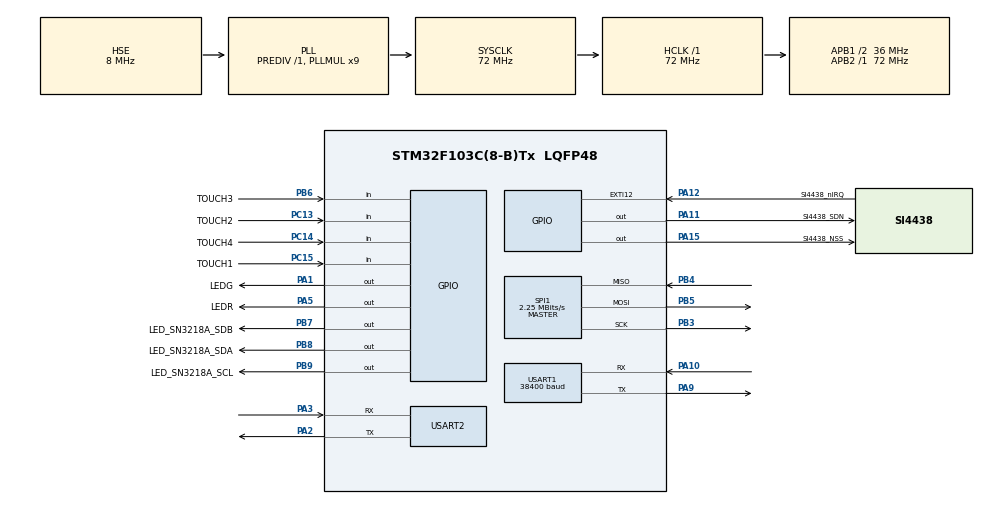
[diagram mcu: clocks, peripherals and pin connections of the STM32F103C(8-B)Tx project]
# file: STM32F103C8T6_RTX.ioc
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Mcu.Family=STM32F1
Mcu.Name=STM32F103C(8-B)Tx
Mcu.Package=LQFP48
NVIC.EXTI15_10_IRQn=true\:0\:0\:false\:false\:true\:true
NVIC.PriorityGroup=NVIC_PRIORITYGROUP_4
NVIC.SPI1_IRQn=true\:0\:0\:true\:false\:true\:true
NVIC.TIM1_UP_IRQn=true\:1\:0\:true\:false\:true\:true
NVIC.USART1_IRQn=true\:0\:0\:false\:false\:true\:true
NVIC.USART2_IRQn=true\:0\:0\:false\:false\:true\:true
PA1.GPIO_Label=LEDG
PA1.Signal=GPIO_Output
PA10.Mode=Asynchronous
PA10.Signal=USART1_RX
PA11.GPIO_Label=SI4438_SDN
PA11.Signal=GPIO_Output
PA12.GPIO_Label=SI4438_nIRQ
PA12.GPIO_ModeDefaultEXTI=GPIO_MODE_IT_FALLING
PA12.Signal=GPXTI12
PA13.Mode=Serial_Wire
PA13.Signal=SYS_JTMS-SWDIO
PA14.Mode=Serial_Wire
PA14.Signal=SYS_JTCK-SWCLK
PA15.GPIO_Label=SI4438_NSS
PA15.Signal=GPIO_Output
PA2.Mode=Asynchronous
PA2.Signal=USART2_TX
PA3.Mode=Asynchronous
PA3.Signal=USART2_RX
PA5.GPIO_Label=LEDR
PA5.Signal=GPIO_Output
PA9.Mode=Asynchronous
PA9.Signal=USART1_TX
PB3.Mode=Full_Duplex_Master
PB3.Signal=SPI1_SCK
PB4.Mode=Full_Duplex_Master
PB4.Signal=SPI1_MISO
PB5.Mode=Full_Duplex_Master
PB5.Signal=SPI1_MOSI
PB6.GPIO_Label=TOUCH3
PB6.Signal=GPIO_Input
PB7.GPIO_Label=LED_SN3218A_SDB
PB7.GPIO_Speed=GPIO_SPEED_FREQ_HIGH
PB7.Signal=GPIO_Output
PB8.GPIO_Label=LED_SN3218A_SDA
PB8.GPIO_Speed=GPIO_SPEED_FREQ_HIGH
PB8.Signal=GPIO_Output
PB9.GPIO_Label=LED_SN3218A_SCL
PB9.GPIO_Speed=GPIO_SPEED_FREQ_HIGH
PB9.Signal=GPIO_Output
PC13-TAMPER-RTC.GPIO_Label=TOUCH2
PC13-TAMPER-RTC.Signal=GPIO_Input
PC14-OSC32_IN.GPIO_Label=TOUCH4
PC14-OSC32_IN.Signal=GPIO_Input
PC15-OSC32_OUT.GPIO_Label=TOUCH1
PC15-OSC32_OUT.Signal=GPIO_Input
PD0-OSC_IN.Mode=HSE-External-Oscillator
PD0-OSC_IN.Signal=RCC_OSC_IN
PD1-OSC_OUT.Mode=HSE-External-Oscillator
PD1-OSC_OUT.Signal=RCC_OSC_OUT
ProjectManager.HeapSize=0x200
ProjectManager.StackSize=0x400
ProjectManager.TargetToolchain=MDK-ARM V5
RCC.AHBFreq_Value=72000000
RCC.APB1CLKDivider=RCC_HCLK_DIV2
RCC.APB1Freq_Value=36000000
RCC.APB1TimFreq_Value=72000000
RCC.APB2Freq_Value=72000000
RCC.APB2TimFreq_Value=72000000
RCC.HCLKFreq_Value=72000000
RCC.PLLMUL=RCC_PLL_MUL9
RCC.PLLSourceVirtual=RCC_PLLSOURCE_HSE
RCC.SYSCLKFreq_VALUE=72000000
RCC.SYSCLKSource=RCC_SYSCLKSOURCE_PLLCLK
RCC.USBFreq_Value=72000000
SPI1.BaudRatePrescaler=SPI_BAUDRATEPRESCALER_32
SPI1.CalculateBaudRate=2.25 MBits/s
SPI1.Direction=SPI_DIRECTION_2LINES
SPI1.Mode=SPI_MODE_MASTER
SPI1.VirtualType=VM_MASTER
TIM1.Period=65000-1
TIM1.Prescaler=72-1
USART1.BaudRate=38400
USART1.VirtualMode=VM_ASYNC
USART2.VirtualMode=VM_ASYNC
VP_TIM1_VS_ClockSourceINT.Mode=Internal
board=custom

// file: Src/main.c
/**
  ******************************************************************************
  * @file           : main.c
  * @brief          : Main program body
  ******************************************************************************
  ** This notice applies to any and all portions of this file
  * that are not between comment pairs USER CODE BEGIN and
  * USER CODE END. Other portions of this file, whether
  * inserted by the user or by software development tools
  * are owned by their respective copyright owners.
  *
  * COPYRIGHT(c) 2018 STMicroelectronics
  *
  * Redistribution and use in source and binary forms, with or without modification,
  * are permitted provided that the following conditions are met:
  *   1. Redistributions of source code must retain the above copyright notice,
  *      this list of conditions and the following disclaimer.
  *   2. Redistributions in binary form must reproduce the above copyright notice,
  *      this list of conditions and the following disclaimer in the documentation
  *      and/or other materials provided with the distribution.
  *   3. Neither the name of STMicroelectronics nor the names of its contributors
  *      may be used to endorse or promote products derived from this software
  *      without specific prior written permission.
  *
  * THIS SOFTWARE IS PROVIDED BY THE COPYRIGHT HOLDERS AND CONTRIBUTORS "AS IS"
  * AND ANY EXPRESS OR IMPLIED WARRANTIES, INCLUDING, BUT NOT LIMITED TO, THE
  * IMPLIED WARRANTIES OF MERCHANTABILITY AND FITNESS FOR A PARTICULAR PURPOSE ARE
  * DISCLAIMED. IN NO EVENT SHALL THE COPYRIGHT HOLDER OR CONTRIBUTORS BE LIABLE
  * FOR ANY DIRECT, INDIRECT, INCIDENTAL, SPECIAL, EXEMPLARY, OR CONSEQUENTIAL
  * DAMAGES (INCLUDING, BUT NOT LIMITED TO, PROCUREMENT OF SUBSTITUTE GOODS OR
  * SERVICES; LOSS OF USE, DATA, OR PROFITS; OR BUSINESS INTERRUPTION) HOWEVER
  * CAUSED AND ON ANY THEORY OF LIABILITY, WHETHER IN CONTRACT, STRICT LIABILITY,
  * OR TORT (INCLUDING NEGLIGENCE OR OTHERWISE) ARISING IN ANY WAY OUT OF THE USE
  * OF THIS SOFTWARE, EVEN IF ADVISED OF THE POSSIBILITY OF SUCH DAMAGE.
  *
  ******************************************************************************
  */
#include "main.h"
#include "stm32f1xx_hal.h"

/* USER CODE BEGIN Includes */
#include "taskApp.h"
#include "delay.h"
#include "user_call_back.h"
#include "wireless_app.h"
#include "wireless_drv.h"
#include "uart.h"
#include "stmflash.h"
#include "led.h"
#include "frame_process.h"
#include "stm32f0_eeprom.h"
#include "aes.h"
/* USER CODE END Includes */

SPI_HandleTypeDef hspi1;

TIM_HandleTypeDef htim1;

UART_HandleTypeDef huart1;
UART_HandleTypeDef huart2;

/* USER CODE BEGIN PV */
/* Private variables ---------------------------------------------------------*/

/* USER CODE END PV */

void SystemClock_Config(void);
static void MX_GPIO_Init(void);
static void MX_USART1_UART_Init(void);
static void MX_USART2_UART_Init(void);
static void MX_SPI1_Init(void);
static void MX_TIM1_Init(void);

/* USER CODE BEGIN PFP */
/* Private function prototypes -----------------------------------------------*/

/* USER CODE END PFP */

/* USER CODE BEGIN 0 */
uint8_t uart1_rec;
uint8_t uart2_rec;

//串口接收一帧数据后处理
void UartRcvTask(void)
{
    uint16_t len, t;
    if (USART2_RX_STA & 0x8000)
    {
        len = USART2_RX_STA & 0x3fff; //得到此次接收到的数据长度
        //printf("\r\n您发送的消息为:\r\n\r\n");
        for (t = 0; t < len; t++)
        {
            UartSendData(USART2, USART2_RX_BUF[t]); //向串口1发送数据
        }

        //printf("\r\n\r\n");//插入换行
        USART2_RX_STA = 0;
    }
    if (USART_RX_STA & 0x8000)
    {
        len = USART_RX_STA & 0x3fff; //得到此次接收到的数据长度
        //printf("\r\n您发送的消息为:\r\n\r\n");
        for (t = 0; t < len; t++)
        {
            UartSendData(USART1, USART_RX_BUF[t]); //向串口1发送数据
        }
        Si4438_Transmit_Start(&Wireless_Buf, 10, USART_RX_BUF, len);
        //printf("\r\n\r\n");//插入换行
        USART_RX_STA = 0;
    }
}

/*
无线数据处理任务
*/
void WirelessTask(void)
{
    uint8_t recFlag = 0;
    if (WIRELESS_STATUS == Wireless_RX_Finish)
    {
        Uart1SendBytes(Wireless_Buf.Wireless_RxData, Wireless_Buf.Wireless_PacketLength);
        recFlag = 1;
        //Si4438_Receive_Start(Wireless_Channel[0]);
    }
    if (WIRELESS_STATUS == Wireless_TX_Finish)
    {
        DEBUG_Printf("Wireless_TX_Finish\r\n");
        Si4438_Receive_Start(Wireless_Channel[0]); //开始接收无线数据
    }
    else if (WIRELESS_STATUS == Wireless_RX_Failure)
    {
        WirelessRx_Timeout_Cnt = 0;
        DEBUG_Printf("Wireless_RX_Failure\r\n");
        delay_ms(30);
        Set_Property(Interrupt_Close);
        delay_ms(200);
        Si4438_Receive_Start(Wireless_Channel[0]); //开始接收无线数据
    }
//    else if ((WIRELESS_STATUS == Wireless_RX_Sync) && (WirelessRx_Timeout_Cnt > 500)) //500ms超时
//    {

//        DEBUG_Printf("Wireless_RX_Sync\r\n");
//        delay_ms(30);
//        Set_Property(Interrupt_Close);
//        delay_ms(200);
//        Si4438_Receive_Start(Wireless_Channel[0]); //开始接收无线数据
//        WirelessRx_Timeout_Cnt = 0;
//    }

    if (recFlag == 1)
    {
        Si4438_Transmit_Start(&Wireless_Buf, 22, "abcdefg", 7);
    }
}

//根据家庭组切换到新的固定通讯频道上
#ifdef Use_Rx_Hop
void Get_WireLessChannel(uint8_t *wire_chnel)
{
   uint32_t temp_val = LANGroup_Addr[0] + LANGroup_Addr[1] + LANGroup_Addr[2];

   //uint32_t temp_val = 0x00 + 0x29 + 0x02;
   //uint32_t temp_val = 0x00 + 0x2A + 0x5B;
    if (temp_val == 0)
    {
        wire_chnel[0] = Default_Channel;
        wire_chnel[1] = Default_Channel;
    }
    else
    {
        wire_chnel[0] = (temp_val & 0x1f) << 1; //共32个信道组，每个信道组有两个信道
        wire_chnel[1] = wire_chnel[0] + 1;
		if(wire_chnel[0] == Default_Channel)
		{
			wire_chnel[0] = wire_chnel[0] + 2;
			wire_chnel[1] = wire_chnel[0] + 1;
		}
    }

    RF_RX_HOP_CONTROL_12[7] = Channel_Frequency_Index[wire_chnel[0]]; //放入群组的主频道
    RF_RX_HOP_CONTROL_12[8] = Channel_Frequency_Index[wire_chnel[1]]; //放入群组的备用频道
}
#else
void Get_WireLessChannel(uint8_t *wire_chnel)
{
	wire_chnel[0] = Default_Channel;
	wire_chnel[1] = Default_Channel;
}
#endif
//LED旋转灯测试
void PowerOn_Led(void)
{
    //Fashion_ParaBuf.Led4_CotrolPara = 0x43;
    //LED_SetALed(4, Purple, 63);
    LED_SetDuty(Purple, 63);
    LED_SetALed(4, Purple, 63);
    SysDelay_Xms(2000);

    LED_Clear(0);
}

void UpCom_Process(UpCom_Rx_TypDef *prx_ubuf, DevicePara_TypDef *p_device)
{

    if (prx_ubuf->Rx_Status == UartRx_Finished)
    {
        prx_ubuf->Rx_Status = UartRx_FrameHead;
        if (0 == FrameData_Detect(prx_ubuf->Frame_Data, prx_ubuf->FrameTotalLen))
        {
            p_device->Pending_Flag &= 0xf0; //
            LEDR_INVERSE();

            if (prx_ubuf->Frame_Data[0] == AESFreamHeader)
                p_device->Pending_Flag |= 0x01;
            else
            {
                uint8_t frame_type = prx_ubuf->Frame_Data[Region_CmdNumber] & 0x98;

                if (frame_type == RemoteUp_CmdFrame)
                {
                    p_device->Pending_Flag |= 0x02;
#ifdef Use_Rout
                    Dis_TryFlag = 1;
                    prx_ubuf->Frame_Data[Region_SeqNumber] &= 0x7f;
#endif
                }

                else if (frame_type == Local_EventFrame || frame_type == RemoteUp_EventFrame)
                    p_device->Pending_Flag |= 0x03;
                else if (frame_type == Local_CmdFrame)
                    p_device->Pending_Flag |= 0x04;
                else
                {
                    // UpCom_RXINT_EN();
                }
            }
        }
        else
        {
            // UpCom_RXINT_EN();
        }
    }
}

void WireLess_Process(WLS *p_wl, DevicePara_TypDef *p_device)
{
    static uint8_t Wireless_ErrCnt = 0;

    // Get_WireLessChannel(Wireless_Channel);

    if (WIRELESS_ERROR_CODE == Wireless_CmdResponseError)
    {
        WIRELESS_ERROR_CODE = Wireless_NoError;
        /*Si4438_Receive_Start(Wireless_Channel[0]);   //Start Receive*/
        if (++Wireless_ErrCnt > 10)
            WIRELESS_ERROR_CODE = Wireless_InitError;
    }

    if (WIRELESS_ERROR_CODE == Wireless_ExecuteError) //Channel Busy
    {
        WIRELESS_STATUS = Wireless_Free;

        Si4438_Receive_Start(Wireless_Channel[0]); //Start Receive
    }

    if (WIRELESS_STATUS == Wireless_TX_Finish)
    {
        WIRELESS_STATUS = Wireless_Free;
        Wireless_ErrCnt = 0;
        //LEDR_INVERSE();
        Si4438_Receive_Start(Wireless_Channel[0]); //Start Receive
    }

    else if (WIRELESS_STATUS == Wireless_RX_Failure)
    {
        WIRELESS_STATUS = Wireless_Free;
        Wireless_ErrCnt = 0;
        Res_FifoInfo(RESET_RECEIVE);
        //Si4438_Receive_Start(Wireless_Channel[0]);         //Start Receive
    }

    else if (WIRELESS_STATUS == Wireless_RX_Finish) //Receive Finish
    {
        WIRELESS_STATUS = Wireless_Free;
        Wireless_ErrCnt = 0;

        if (0 == FrameData_Detect(p_wl->Wireless_RxData, p_wl->Wireless_PacketLength))
        {
#ifdef Use_74dcode
            if (((p_wl->Wireless_RxData[Region_CmdNumber] & 0X07) != 0X07) && ((p_wl->Wireless_RxData[Region_CmdNumber] & 0X07) != 0X02)) //带编码能力的电器回复无cmd标识
            {
                uint8_t Datacnt = Region_DataAFNNumber, Realcnt = 0;
                volatile uint16_t dest;
                uint8_t Datalength = (p_wl->Wireless_PacketLength - 9) / 2; //从数据区到校验区开始解码

                while (Datalength--)
                {
                    dest = (p_wl->Wireless_RxData[Datacnt]);
                    dest = dest << 8;
                    dest |= p_wl->Wireless_RxData[Datacnt + 1];                //接收到的是单位1Byte的74码数据，处理成2Byte解码使用
                    p_wl->Wireless_RealData[Realcnt++] = decode16_74bit(dest); //解码成真实数据
                    Datacnt += 2;
                }
                memset(&p_wl->Wireless_RxData[Region_DataAFNNumber], (uint8_t)0, p_wl->Wireless_PacketLength); //把接收到的编码帧清除，否则会有无用数据在帧的后缀出现
                memmove(&p_wl->Wireless_RxData[Region_DataAFNNumber], p_wl->Wireless_RealData, Realcnt);       //把真实长度的数据放到接收数据buf中
                memset(p_wl->Wireless_RealData, (uint8_t)0, Realcnt);
                p_wl->Wireless_PacketLength = Realcnt + Region_DataAFNNumber; //数据校验区加协议区总长度
            }
#endif

            uint8_t frame_type = p_wl->Wireless_RxData[Region_CmdNumber] & 0x98;
#ifdef Use_Rout
            uint8_t rout_flag = p_wl->Wireless_RxData[Region_SeqNumber] & 0x80;
            uint8_t Remain_series = p_wl->Wireless_RxData[Region_DataAFNNumber + p_wl->Wireless_RxData[Region_DataLenNumber] + 1];
#endif

            p_device->Pending_Flag &= 0x0f;
            LEDG_INVERSE();
#ifdef Use_Rout
            if ((frame_type == RemoteDown_CmdFrame) && (!rout_flag || (rout_flag && !Remain_series)))
                p_device->Pending_Flag |= 0x10;
            else if ((frame_type == RemoteDown_EventFrame) && (!rout_flag || (rout_flag && !Remain_series)))
                p_device->Pending_Flag |= 0x20;
#else
            if (frame_type == RemoteDown_CmdFrame)
                p_device->Pending_Flag |= 0x10;
            else if (frame_type == RemoteDown_EventFrame)
                p_device->Pending_Flag |= 0x20;
#endif
            else
                Si4438_Receive_Start(Wireless_Channel[0]);
        }
        else if (p_wl->Wireless_RxData[Region_HeaderNumber] == HKFreamHeader) //帧校验错误时但为正确格式，尝试解码纠错
        {
#ifdef Use_74dcode
            //无线帧校验错误尝试解码恢复数据
            if (((p_wl->Wireless_RxData[Region_CmdNumber] & 0X07) != 0X07) && ((p_wl->Wireless_RxData[Region_CmdNumber] & 0X07) != 0X02)) //带编码能力的电器回复无cmd标识，可以尝试解码恢复
            {
                uint8_t Datacnt = Region_DataAFNNumber, Realcnt = 0;
                volatile uint16_t dest;
                uint8_t Datalength = (p_wl->Wireless_PacketLength - 9) / 2; //从数据区到校验区开始解码

                while (Datalength--)
                {
                    dest = (p_wl->Wireless_RxData[Datacnt]);
                    dest = dest << 8;
                    dest |= p_wl->Wireless_RxData[Datacnt + 1];                //接收到的是单位1Byte的74码数据，处理成2Byte解码使用
                    p_wl->Wireless_RealData[Realcnt++] = decode16_74bit(dest); //解码成真实数据
                    Datacnt += 2;
                }
                memset(&p_wl->Wireless_RxData[Region_DataAFNNumber], (uint8_t)0, p_wl->Wireless_PacketLength); //把接收到的编码帧清除，否则会有无用数据在帧的后缀出现
                memmove(&p_wl->Wireless_RxData[Region_DataAFNNumber], p_wl->Wireless_RealData, Realcnt);       //把真实长度的数据放到接收数据buf中
                memset(p_wl->Wireless_RealData, (uint8_t)0, Realcnt);
                p_wl->Wireless_PacketLength = Realcnt + Region_DataAFNNumber; //数据校验区加协议区总长度
            }
            else //不带编码能力的电器回复校验错误直接返回
            {
                Si4438_Receive_Start(Wireless_Channel[0]);
                return;
            }
#endif
#ifdef Use_74dcode
            //校验解码后的帧是否正确
            if (0 == FrameData_Detect(p_wl->Wireless_RxData, p_wl->Wireless_PacketLength))
            {
                uint8_t frame_type = p_wl->Wireless_RxData[Region_CmdNumber] & 0x98;
#ifdef Use_Rout
                uint8_t rout_flag = p_wl->Wireless_RxData[Region_SeqNumber] & 0x80;
                uint8_t Remain_series = p_wl->Wireless_RxData[Region_DataAFNNumber + p_wl->Wireless_RxData[Region_DataLenNumber] + 1];
#endif

                p_device->Pending_Flag &= 0x0f;
                LEDG_INVERSE();
#ifdef Use_Rout
                if ((frame_type == RemoteDown_CmdFrame) && (!rout_flag || (rout_flag && !Remain_series)))
                    p_device->Pending_Flag |= 0x10;
                else if ((frame_type == RemoteDown_EventFrame) && (!rout_flag || (rout_flag && !Remain_series)))
                    p_device->Pending_Flag |= 0x20;
#else
                if (frame_type == RemoteDown_CmdFrame)
                    p_device->Pending_Flag |= 0x10;
                else if (frame_type == RemoteDown_EventFrame)
                    p_device->Pending_Flag |= 0x20;
#endif
                else
                    Si4438_Receive_Start(Wireless_Channel[0]);
            }
            else
                Si4438_Receive_Start(Wireless_Channel[0]);
#else
            Si4438_Receive_Start(Wireless_Channel[0]);
#endif
        }
        else
            Si4438_Receive_Start(Wireless_Channel[0]);
    }
}

void System_8msTick_Process(void)
{
    if ((WIRELESS_STATUS == Wireless_RX_Receiving) && (!!NIRQ_RDPIN() == 0))
    {
        Si4438_Receive_Start(Wireless_Channel[0]); //Restart Receive
    }
    if ((WIRELESS_ERROR_CODE == Wireless_Busy)) //Channel Busy
    {
        if (Wireless_Buf.Channel_Busy_cnt) // Send Ready
        {
            if (++Wireless_Buf.Channel_Busy_cnt > BUSY_TIMEOUT)
            {
                Wireless_Buf.Channel_Busy_cnt = 0;

                //Set_Property(Interrupt_Close);
                WIRELESS_ERROR_CODE = Wireless_NoError;
                Si4438_Receive_Start(Wireless_Channel[0]);
            }
        }
        else
            WIRELESS_ERROR_CODE = Wireless_NoError;
    }
    if (WirelessRx_Timeout_Cnt)
    {
        if (++WirelessRx_Timeout_Cnt > WirelessRx_Timeout_Threshold)
        {
            WirelessRx_Timeout_Cnt = 0;

            Si4438_Receive_Start(Wireless_Channel[0]);
        }
    }
    if (Wireless_Buf.Sent_TimeOut_Cnt > 0)
    {
        if (++Wireless_Buf.Sent_TimeOut_Cnt > WLSent_TimeOut_Val)
        {
            Wireless_Buf.Sent_TimeOut_Cnt = 0;
            WIRELESS_STATUS = Wireless_TX_Finish;
        }
    }
    if (UpCom_TxBuf.Tx_Status == UartTx_End)
    {
        if (++UpCom_TxBuf.TxEnd_Cnt > Tx_GapTime_Size)
        {
            UpCom_TxBuf.TxEnd_Cnt = 0;
            UpCom_TxBuf.Tx_Status = UartTx_Finished;
        }
    }
    if (UpCom_RxBuf.Over_time_count)
    {
        if (++UpCom_RxBuf.Over_time_count > Up_TimeOut_Val)
        {
            UpCom_RxBuf.Over_time_count = 0;
            UpCom_RxBuf.Rx_Status = UartRx_FrameHead;
        }
    }
#ifdef Use_Rout
    if (Frame_Wait_Cnt)
    {
        Frame_Wait_Cnt++;
    }
#endif
}

void Led_Process(DevicePara_TypDef *p_device, Led_Color_TypeDef colour)
{

    if ((p_device->Touch_State & 0x10) == 0x10)
    {
        p_device->Touch_State &= ~0x10;
        p_device->Led_Cotrol_DisFlag |= 0x01;
        LED_Clear(1);
        LED_SetALed(0, colour, 20);
        LED_SetALed(1, colour, 20);
    }
    else if ((p_device->Touch_State & 0x01) == 0x01)
    {
        p_device->Touch_State &= ~0x01;
        p_device->Led_Cotrol_DisFlag &= ~0x01;
        LED_SetALed(0, colour, 0);
        LED_SetALed(1, colour, 0);
    }
#if (0)
    if ((p_device->Touch_State & 0x20) == 0x20)
    {
        p_device->Touch_State &= ~0x20;
        p_device->Led_Cotrol_DisFlag |= 0x02;
        LED_Clear(1);
        LED_SetALed(2, colour, 20);
        LED_SetALed(3, colour, 20);
    }
    else if ((p_device->Touch_State & 0x02) == 0x02)
    {
        p_device->Touch_State &= ~0x02;
        p_device->Led_Cotrol_DisFlag &= ~0x02;
        LED_SetALed(2, colour, 0);
        LED_SetALed(3, colour, 0);
    }
#endif
    if ((p_device->Touch_State & 0x40) == 0x40)
    {
        p_device->Touch_State &= ~0x40;
        p_device->Led_Cotrol_DisFlag |= 0x04;
        LED_Clear(1);
        LED_SetALed(5, colour, 20);
        LED_SetALed(6, colour, 20);
    }
    else if ((p_device->Touch_State & 0x04) == 0x04)
    {
        p_device->Touch_State &= ~0x04;
        p_device->Led_Cotrol_DisFlag &= ~0x04;
        LED_SetALed(5, colour, 0);
        LED_SetALed(6, colour, 0);
    }
#if (0)
    if ((p_device->Touch_State & 0x80) == 0x80)
    {
        p_device->Touch_State &= ~0x80;
        p_device->Led_Cotrol_DisFlag |= 0x08;
        LED_Clear(1);
        LED_SetALed(7, colour, 20);
        LED_SetALed(8, colour, 20);
    }
    else if ((p_device->Touch_State & 0x08) == 0x08)
    {
        p_device->Touch_State &= ~0x08;
        p_device->Led_Cotrol_DisFlag &= ~0x08;
        LED_SetALed(7, colour, 0);
        LED_SetALed(8, colour, 0);
    }
#endif
    if (!p_device->Led_Cotrol_DisFlag)
    {
        uint8_t led_setmode, color_val;
        Led_Color_TypeDef led_color;

        led_setmode = (p_device->Led_CotrolPara & 0xf0) >> 4;
        color_val = p_device->Led_CotrolPara & 0x03;
        if (color_val == 0x00)
            led_color = Colourless;
        else if (color_val == 0x01)
            led_color = Blue;
        else if (color_val == 0x02)
            led_color = Orange;
        else if (color_val == 0x03)
            led_color = Purple;
        switch (led_setmode)
        {
        case Led_SetMode1:
            Led_Mode1(led_color);
            break;

        case Led_SetMode2:
            Led_Mode2(led_color);
            break;

        case Led_SetMode3:
            Led_Mode3(led_color);
            break;

        case Led_SetMode5:
            Led_Mode5(p_device, Purple);
            break;

        default:
            break;
        }
    }
    Led_Mode4(p_device);
}
void MacFrame_Process(uint8_t *p_source, uint8_t *p_buf)
{
    uint16_t crc16_val;

    if (p_source[1] == MACWrite_Cmd_Request)
    {
        if (memcmp(Local_MAC_Addr, p_source, MAC_Data_Len + 5) != 0) //只能烧一次
        {
            Eeprom_ErasePage(MAC_EAddr);
            Eeprom_Write(MAC_EAddr, (uint16_t *)p_source, MAC_Data_Len + 5);
            Eeprom_Read(MAC_EAddr, (uint16_t *)Local_MAC_Addr, MAC_Data_Len + 5);

            if (memcmp(Local_MAC_Addr, p_source, MAC_Data_Len + 5) == 0)
            {
                p_buf[1] = MACWrite_Yes_Response;
                p_buf[3] = 0xff;
            }
            else
            {
                p_buf[1] = MACWrite_NO_Response;
                p_buf[3] = 0x00;
            }
        }
        else
        {
            p_buf[1] = MACWrite_Yes_Response;
            p_buf[3] = 0xff;
        }
        p_buf[0] = AESFreamHeader;
        p_buf[2] = 1;
        crc16_val = CRC16_2(p_buf, 4);
        p_buf[4] = crc16_val >> 8;
        p_buf[5] = crc16_val & 0xff;

        UpUart_DataTx(p_buf, 6, &UpCom_TxBuf);
    }
}

uint8_t Remain_series;
void RxData_Process(HKFrame_TypDef *p_framebuf, DevicePara_TypDef *p_device)
{

    if (p_device->Pending_Flag & 0x0f)
    {
        uint8_t pending_val = p_device->Pending_Flag & 0x0f;

        if (pending_val == 0x01)
        {
            if (UpCom_TxBuf.Tx_Status != UartTx_Finished)
                return;
#ifdef USE_USAT_RSAKey
            AesFrame_Process(UpCom_RxBuf.Frame_Data);
#endif
            MacFrame_Process(UpCom_RxBuf.Frame_Data, p_framebuf->FrameProcess_Buf);
        }
        else
        {
            if (pending_val == 0x02)
            {
                if ((WIRELESS_STATUS == Wireless_TX_Sending))
                //UpUart_DataTx(p, 5, &UpCom_TxBuf);
#ifdef Use_Rout
                    if ((UpCom_TxBuf.Tx_Status != UartTx_Finished) || (WIRELESS_STATUS == Wireless_TX_Sending))
                        return;
#else
                    if ((UpCom_TxBuf.Tx_Status != UartTx_Finished) || (WIRELESS_STATUS == Wireless_TX_Sending))
                        return;
#endif
                //Frame_Process(Up_RxBuf.Frame_Data, Up_RxBuf.FrameTotalLen, p_framebuf, p_device);
            }
            else if (pending_val == 0x03)
            {
                //Frame_Process(Up_RxBuf.Frame_Data, Up_RxBuf.FrameTotalLen, p_framebuf, p_device);
            }
            else if (pending_val == 0x04)
            {
                if (UpCom_TxBuf.Tx_Status != UartTx_Finished)
                    return;
            }

            Frame_Process(UpCom_RxBuf.Frame_Data, UpCom_RxBuf.FrameTotalLen, p_framebuf, p_device);
        }
        p_device->Pending_Flag &= ~0x0f;
        // UpCom_RXINT_EN();
    }

    if (p_device->Pending_Flag & 0xf0)
    {
        uint8_t pending_val = p_device->Pending_Flag & 0xf0;
#ifdef Use_Rout
        uint8_t rout_flag = Wireless_Buf.Wireless_RxData[Region_SeqNumber] & 0x80;
        //uint8_t Remain_series = Wireless_Buf.Wireless_RxData[Region_DataAFNNumber + Wireless_Buf.Wireless_RxData[Region_DataLenNumber] + 1];
        Remain_series = Wireless_Buf.Wireless_RxData[Wireless_Buf.Wireless_PacketLength - 3 - 5];
#endif

#ifdef Use_Rout
        if (rout_flag && Remain_series)
        {
            p_device->Pending_Flag &= ~0xf0;
            Si4438_Receive_Start(Wireless_Channel[0]);
            return;
        }
#endif
        if (pending_val == 0x10)
        {
            if (UpCom_TxBuf.Tx_Status != UartTx_Finished)
                return;
        }
        else if (pending_val == 0x20)
        {
            if ((UpCom_TxBuf.Tx_Status != UartTx_Finished) || (WIRELESS_STATUS == Wireless_TX_Sending))
                return;
        }

        Frame_Process(Wireless_Buf.Wireless_RxData, Wireless_Buf.Wireless_PacketLength, p_framebuf, p_device);
        p_device->Pending_Flag &= ~0xf0;

        if (WIRELESS_STATUS != Wireless_TX_Sending)
            Si4438_Receive_Start(Wireless_Channel[0]);
    }
}

void Touch_Process(DevicePara_TypDef *p_device)
{
    if (!p_device->Touch_Val)
    {
        Touch1_Detect(p_device);
        Touch2_Detect(p_device);
        Touch3_Detect(p_device);
        Touch4_Detect(p_device);
        if (p_device->Touch_Val)
            p_device->UpReport_Flag |= (1 << Key_Event);
    }
}

void MacAddr_Read(void)
{
	uint32_t delay_cnt = 0;
    do
    {
        SysDelay_Xms(20);

        UpCom_Process(&UpCom_RxBuf, &Device_ParaBuf);
        RxData_Process(&HKFrame_Buf, &Device_ParaBuf);
        Eeprom_Read(MAC_EAddr, (uint16_t *)Local_MAC_Addr, MAC_Data_Len + 5);
		delay_cnt ++;
		if(delay_cnt > 50)
		{
			delay_cnt = 0;
			//DEBUG_Printf("Please input Mac Frame\r\n");
			UartSendData(USART1,0x0C);
		}
    } while (0 != FrameData_Detect(Local_MAC_Addr, MAC_Data_Len + 5));
}

void Aes_Key_Read(void)
{
#ifdef USE_USAT_RSAKey
    do
    {
        SysDelay_Xms(1000);
        UpCom_Process(&UpCom_RxBuf, &Device_ParaBuf);
        RxData_Process(&HKFrame_Buf, &Device_ParaBuf);
        Eeprom_Read(KEY_StartAddr, (uint16_t *)aes_out, AesBuf_Size / 2);
    } while (aes_out[AesBuf_Size - 2] != Secret_Key_Yes);
#else
    Eeprom_Read(KEY_StartAddr, (uint16_t *)aes_out, AesBuf_Size / 2);

#endif

    Secret_GKey_Flag = 1;
#if (0) //??????
    if (Secret_Key_Yes == aes_out[AesBuf_Size - 1])
    {
        memmove(LANGroup_Addr, &aes_out[RsaByte_Size * 3], 3);
        Rsa_Decode(aes_out);
        key_expansion(aes_out, aes_w);
        Secret_KeyOk_Flag = 1;
    }
#else
    memset(&aes_out[RsaByte_Size * 2], 0, 19); //???Buf?0
#endif
}

/* USER CODE END 0 */

int main(void)
{

  /* MCU Configuration----------------------------------------------------------*/

  /* Reset of all peripherals, Initializes the Flash interface and the Systick. */
  HAL_Init();

  /* Configure the system clock */
  SystemClock_Config();

  /* Initialize all configured peripherals */
  MX_GPIO_Init();
  MX_USART1_UART_Init();
  MX_USART2_UART_Init();
  MX_SPI1_Init();
  MX_TIM1_Init();
  /* USER CODE BEGIN 2 */

    HAL_TIM_Base_Start(&htim1);
    HAL_UART_Receive_IT(&huart1, &uart1_rec, 1);
    HAL_UART_Receive_IT(&huart2, &uart2_rec, 1);
	SN3218_Init();
	PowerOn_Led();
	MacAddr_Read();
	Aes_Key_Read();

	Get_WireLessChannel(Wireless_Channel);
    Wireless_Init();
    Si4438_Receive_Start(Wireless_Channel[0]);
    //RTX_OS_Init();
    //STMFLASH_Write(STM32_FLASH_END - 16, (uint16_t *)"1234567890", 10 / 2);

    //SN3218_PwInit();
  /* USER CODE END 2 */

  /* Infinite loop */
  /* USER CODE BEGIN WHILE */
    DEBUG_Printf("System loop Start\r\n");
    while (1)
    {

  /* USER CODE END WHILE */

  /* USER CODE BEGIN 3 */
//        UartRcvTask();
//        WirelessTask();

#ifdef USE_IWDG
        IWDG_FEED();
#endif
        while (!TICK_8ms)
            ;

        TICK_8ms = 0;
        System_8msTick_Process();

        WireLess_Process(&Wireless_Buf, &Device_ParaBuf);
        UpCom_Process(&UpCom_RxBuf, &Device_ParaBuf);

        RxData_Process(&HKFrame_Buf, &Device_ParaBuf);
        Touch_Process(&Device_ParaBuf);
        if (UpCom_TxBuf.Tx_Status == UartTx_Finished)
        {
            UpReport_Process(&HKFrame_Buf, &Device_ParaBuf);
        }

        Led_Process(&Device_ParaBuf, Orange);
#ifdef Use_Rout
        //Path_Try_Process(RoutFrame_buf, RoutRegion, &Rout_TryBuf, &Rout_TempTab);
#endif

    }

  /* USER CODE END 3 */

}

void SystemClock_Config(void)
{

  RCC_OscInitTypeDef RCC_OscInitStruct;
  RCC_ClkInitTypeDef RCC_ClkInitStruct;

    /**Initializes the CPU, AHB and APB busses clocks
    */
  RCC_OscInitStruct.OscillatorType = RCC_OSCILLATORTYPE_HSE;
  RCC_OscInitStruct.HSEState = RCC_HSE_ON;
  RCC_OscInitStruct.HSEPredivValue = RCC_HSE_PREDIV_DIV1;
  RCC_OscInitStruct.HSIState = RCC_HSI_ON;
  RCC_OscInitStruct.PLL.PLLState = RCC_PLL_ON;
  RCC_OscInitStruct.PLL.PLLSource = RCC_PLLSOURCE_HSE;
  RCC_OscInitStruct.PLL.PLLMUL = RCC_PLL_MUL9;
  if (HAL_RCC_OscConfig(&RCC_OscInitStruct) != HAL_OK)
  {
    _Error_Handler(__FILE__, __LINE__);
  }

    /**Initializes the CPU, AHB and APB busses clocks
    */
  RCC_ClkInitStruct.ClockType = RCC_CLOCKTYPE_HCLK|RCC_CLOCKTYPE_SYSCLK
                              |RCC_CLOCKTYPE_PCLK1|RCC_CLOCKTYPE_PCLK2;
  RCC_ClkInitStruct.SYSCLKSource = RCC_SYSCLKSOURCE_PLLCLK;
  RCC_ClkInitStruct.AHBCLKDivider = RCC_SYSCLK_DIV1;
  RCC_ClkInitStruct.APB1CLKDivider = RCC_HCLK_DIV2;
  RCC_ClkInitStruct.APB2CLKDivider = RCC_HCLK_DIV1;

  if (HAL_RCC_ClockConfig(&RCC_ClkInitStruct, FLASH_LATENCY_2) != HAL_OK)
  {
    _Error_Handler(__FILE__, __LINE__);
  }

    /**Configure the Systick interrupt time
    */
  HAL_SYSTICK_Config(HAL_RCC_GetHCLKFreq()/1000);

    /**Configure the Systick
    */
  HAL_SYSTICK_CLKSourceConfig(SYSTICK_CLKSOURCE_HCLK);

  /* SysTick_IRQn interrupt configuration */
  HAL_NVIC_SetPriority(SysTick_IRQn, 0, 0);
}

/* SPI1 init function */
static void MX_SPI1_Init(void)
{

  /* SPI1 parameter configuration*/
  hspi1.Instance = SPI1;
  hspi1.Init.Mode = SPI_MODE_MASTER;
  hspi1.Init.Direction = SPI_DIRECTION_2LINES;
  hspi1.Init.DataSize = SPI_DATASIZE_8BIT;
  hspi1.Init.CLKPolarity = SPI_POLARITY_LOW;
  hspi1.Init.CLKPhase = SPI_PHASE_1EDGE;
  hspi1.Init.NSS = SPI_NSS_SOFT;
  hspi1.Init.BaudRatePrescaler = SPI_BAUDRATEPRESCALER_32;
  hspi1.Init.FirstBit = SPI_FIRSTBIT_MSB;
  hspi1.Init.TIMode = SPI_TIMODE_DISABLE;
  hspi1.Init.CRCCalculation = SPI_CRCCALCULATION_DISABLE;
  hspi1.Init.CRCPolynomial = 10;
  if (HAL_SPI_Init(&hspi1) != HAL_OK)
  {
    _Error_Handler(__FILE__, __LINE__);
  }

}

/* TIM1 init function */
static void MX_TIM1_Init(void)
{

  TIM_ClockConfigTypeDef sClockSourceConfig;
  TIM_MasterConfigTypeDef sMasterConfig;

  htim1.Instance = TIM1;
  htim1.Init.Prescaler = 72-1;
  htim1.Init.CounterMode = TIM_COUNTERMODE_UP;
  htim1.Init.Period = 65000-1;
  htim1.Init.ClockDivision = TIM_CLOCKDIVISION_DIV1;
  htim1.Init.RepetitionCounter = 0;
  htim1.Init.AutoReloadPreload = TIM_AUTORELOAD_PRELOAD_DISABLE;
  if (HAL_TIM_Base_Init(&htim1) != HAL_OK)
  {
    _Error_Handler(__FILE__, __LINE__);
  }

  sClockSourceConfig.ClockSource = TIM_CLOCKSOURCE_INTERNAL;
  if (HAL_TIM_ConfigClockSource(&htim1, &sClockSourceConfig) != HAL_OK)
  {
    _Error_Handler(__FILE__, __LINE__);
  }

  sMasterConfig.MasterOutputTrigger = TIM_TRGO_RESET;
  sMasterConfig.MasterSlaveMode = TIM_MASTERSLAVEMODE_DISABLE;
  if (HAL_TIMEx_MasterConfigSynchronization(&htim1, &sMasterConfig) != HAL_OK)
  {
    _Error_Handler(__FILE__, __LINE__);
  }

}

/* USART1 init function */
static void MX_USART1_UART_Init(void)
{

  huart1.Instance = USART1;
  huart1.Init.BaudRate = 38400;
  huart1.Init.WordLength = UART_WORDLENGTH_8B;
  huart1.Init.StopBits = UART_STOPBITS_1;
  huart1.Init.Parity = UART_PARITY_NONE;
  huart1.Init.Mode = UART_MODE_TX_RX;
  huart1.Init.HwFlowCtl = UART_HWCONTROL_NONE;
  huart1.Init.OverSampling = UART_OVERSAMPLING_16;
  if (HAL_UART_Init(&huart1) != HAL_OK)
  {
    _Error_Handler(__FILE__, __LINE__);
  }

}

/* USART2 init function */
static void MX_USART2_UART_Init(void)
{

  huart2.Instance = USART2;
  huart2.Init.BaudRate = 115200;
  huart2.Init.WordLength = UART_WORDLENGTH_8B;
  huart2.Init.StopBits = UART_STOPBITS_1;
  huart2.Init.Parity = UART_PARITY_NONE;
  huart2.Init.Mode = UART_MODE_TX_RX;
  huart2.Init.HwFlowCtl = UART_HWCONTROL_NONE;
  huart2.Init.OverSampling = UART_OVERSAMPLING_16;
  if (HAL_UART_Init(&huart2) != HAL_OK)
  {
    _Error_Handler(__FILE__, __LINE__);
  }

}

/** Configure pins as
        * Analog
        * Input
        * Output
        * EVENT_OUT
        * EXTI
*/
static void MX_GPIO_Init(void)
{

  GPIO_InitTypeDef GPIO_InitStruct;

  /* GPIO Ports Clock Enable */
  __HAL_RCC_GPIOC_CLK_ENABLE();
  __HAL_RCC_GPIOD_CLK_ENABLE();
  __HAL_RCC_GPIOA_CLK_ENABLE();
  __HAL_RCC_GPIOB_CLK_ENABLE();

  /*Configure GPIO pin Output Level */
  HAL_GPIO_WritePin(GPIOA, LEDG_Pin|LEDR_Pin|SI4438_SDN_Pin|SI4438_NSS_Pin, GPIO_PIN_RESET);

  /*Configure GPIO pin Output Level */
  HAL_GPIO_WritePin(GPIOB, LED_SN3218A_SDB_Pin|LED_SN3218A_SDA_Pin|LED_SN3218A_SCL_Pin, GPIO_PIN_RESET);

  /*Configure GPIO pins : TOUCH2_Pin TOUCH4_Pin TOUCH1_Pin */
  GPIO_InitStruct.Pin = TOUCH2_Pin|TOUCH4_Pin|TOUCH1_Pin;
  GPIO_InitStruct.Mode = GPIO_MODE_INPUT;
  GPIO_InitStruct.Pull = GPIO_NOPULL;
  HAL_GPIO_Init(GPIOC, &GPIO_InitStruct);

  /*Configure GPIO pins : LEDG_Pin LEDR_Pin SI4438_SDN_Pin SI4438_NSS_Pin */
  GPIO_InitStruct.Pin = LEDG_Pin|LEDR_Pin|SI4438_SDN_Pin|SI4438_NSS_Pin;
  GPIO_InitStruct.Mode = GPIO_MODE_OUTPUT_PP;
  GPIO_InitStruct.Pull = GPIO_NOPULL;
  GPIO_InitStruct.Speed = GPIO_SPEED_FREQ_LOW;
  HAL_GPIO_Init(GPIOA, &GPIO_InitStruct);

  /*Configure GPIO pin : SI4438_nIRQ_Pin */
  GPIO_InitStruct.Pin = SI4438_nIRQ_Pin;
  GPIO_InitStruct.Mode = GPIO_MODE_IT_FALLING;
  GPIO_InitStruct.Pull = GPIO_NOPULL;
  HAL_GPIO_Init(SI4438_nIRQ_GPIO_Port, &GPIO_InitStruct);

  /*Configure GPIO pin : TOUCH3_Pin */
  GPIO_InitStruct.Pin = TOUCH3_Pin;
  GPIO_InitStruct.Mode = GPIO_MODE_INPUT;
  GPIO_InitStruct.Pull = GPIO_NOPULL;
  HAL_GPIO_Init(TOUCH3_GPIO_Port, &GPIO_InitStruct);

  /*Configure GPIO pins : LED_SN3218A_SDB_Pin LED_SN3218A_SDA_Pin LED_SN3218A_SCL_Pin */
  GPIO_InitStruct.Pin = LED_SN3218A_SDB_Pin|LED_SN3218A_SDA_Pin|LED_SN3218A_SCL_Pin;
  GPIO_InitStruct.Mode = GPIO_MODE_OUTPUT_PP;
  GPIO_InitStruct.Pull = GPIO_NOPULL;
  GPIO_InitStruct.Speed = GPIO_SPEED_FREQ_HIGH;
  HAL_GPIO_Init(GPIOB, &GPIO_InitStruct);

  /* EXTI interrupt init*/
  HAL_NVIC_SetPriority(EXTI15_10_IRQn, 0, 0);
  HAL_NVIC_EnableIRQ(EXTI15_10_IRQn);

}

void _Error_Handler(char *file, int line)
{
    while (1)
    {
    }
}

/************************ (C) COPYRIGHT STMicroelectronics *****END OF FILE****/
